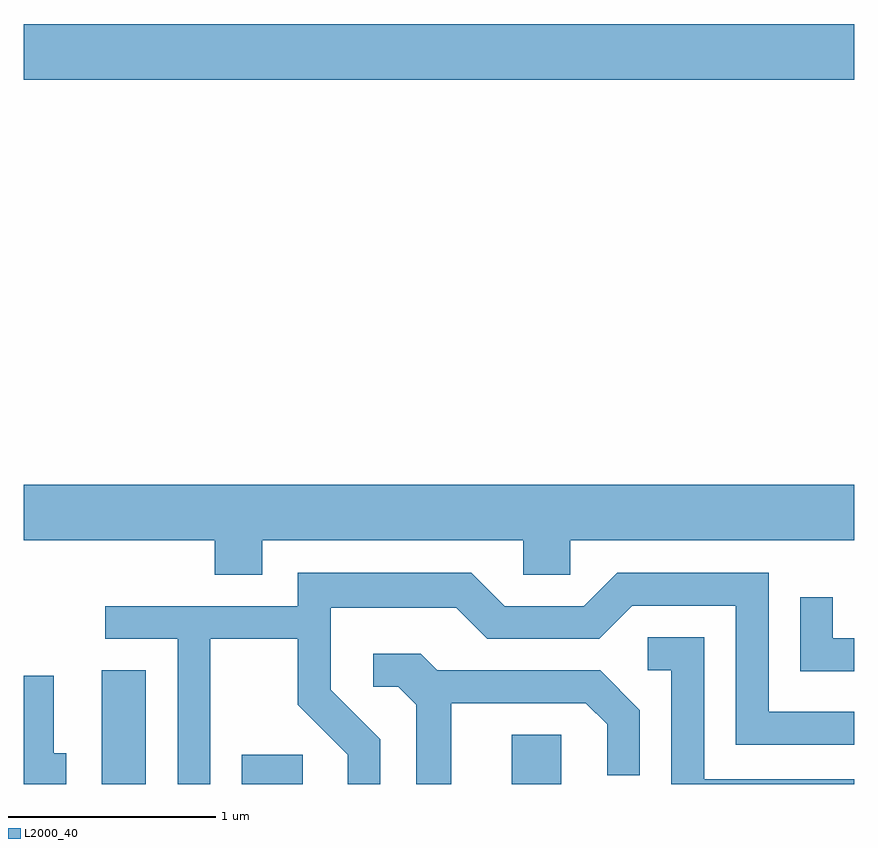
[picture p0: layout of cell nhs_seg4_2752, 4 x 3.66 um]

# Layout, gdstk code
import gdstk
lib = gdstk.Library(unit=1e-6, precision=1e-09)
def R(c, l, rs):  # rectangles x0, y0, x1, y1
    for r in rs: c.add(gdstk.rectangle(r[:2], r[2:], *l))
def P(c, l, *ps):  # polygons
    for p in ps: c.add(gdstk.Polygon(p, *l))
L2000_40 = (2000, 40)

nhs_seg4_2752 = lib.new_cell('nhs_seg4_2752')
R(nhs_seg4_2752, L2000_40, [(265.986,1317.982,266.199,1318.529), (266.661,1317.982,266.954,1318.124), (267.961,1317.982,268.199,1318.219), (265.611,1321.376,269.611,1321.644)])
P(nhs_seg4_2752, L2000_40, [(266.759,1319.156),(268.016,1319.156),(268.016,1318.991),(268.244,1318.991),(268.244,1319.156),(269.611,1319.156),(269.611,1319.424),(265.611,1319.424),(265.611,1319.156),(266.531,1319.156),(266.531,1318.991),(266.759,1318.991)],
  [(266.509,1318.681),(266.931,1318.681),(266.931,1318.364),(267.171,1318.124),(267.171,1317.982),(267.329,1317.982),(267.329,1318.197),(267.089,1318.437),(267.089,1318.831),(267.694,1318.831),(267.844,1318.681),(268.382,1318.681),(268.542,1318.841),(269.041,1318.841),(269.041,1318.171),(269.611,1318.171),(269.611,1318.329),(269.199,1318.329),(269.199,1318.999),(268.469,1318.999),(268.309,1318.839),(267.927,1318.839),(267.767,1318.999),(266.931,1318.999),(266.931,1318.839),(266.003,1318.839),(266.003,1318.681),(266.351,1318.681),(266.351,1317.982),(266.509,1317.982)],
  [(269.611,1318.684),(269.509,1318.684),(269.509,1318.883),(269.351,1318.883),(269.351,1318.526),(269.611,1318.526)],
  [(269.611,1318.004),(268.889,1318.004),(268.889,1318.689),(268.618,1318.689),(268.618,1318.531),(268.731,1318.531),(268.731,1317.982),(269.611,1317.982)],
  [(267.669,1318.371),(268.319,1318.371),(268.421,1318.269),(268.421,1318.023),(268.579,1318.023),(268.579,1318.337),(268.387,1318.529),(267.602,1318.529),(267.522,1318.609),(267.293,1318.609),(267.293,1318.451),(267.414,1318.451),(267.501,1318.364),(267.501,1317.982),(267.669,1317.982)],
  [(265.814,1318.129),(265.754,1318.129),(265.754,1318.504),(265.611,1318.504),(265.611,1317.982),(265.814,1317.982)])

lib.write_gds('nhs_seg4_2752.gds')
